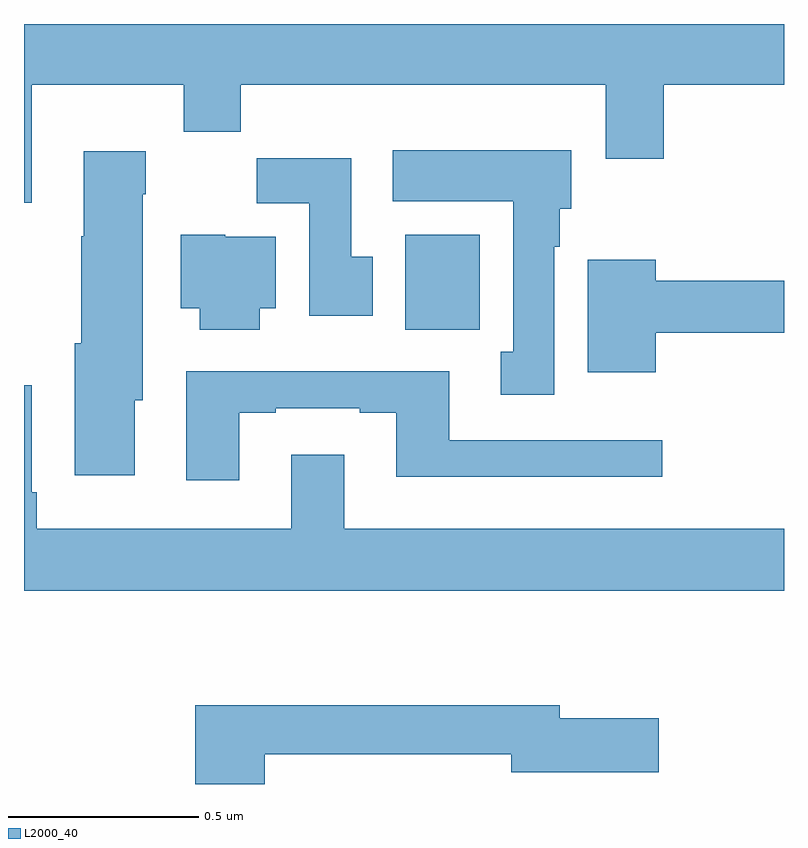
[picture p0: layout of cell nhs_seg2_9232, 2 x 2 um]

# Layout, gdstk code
import gdstk
lib = gdstk.Library(unit=1e-6, precision=1e-09)
def R(c, l, rs):  # rectangles x0, y0, x1, y1
    for r in rs: c.add(gdstk.rectangle(r[:2], r[2:], *l))
def P(c, l, *ps):  # polygons
    for p in ps: c.add(gdstk.Polygon(p, *l))
L2000_40 = (2000, 40)

nhs_seg2_9232 = lib.new_cell('nhs_seg2_9232')
R(nhs_seg2_9232, L2000_40, [(227.003,642.996,227.199,643.246)])
P(nhs_seg2_9232, L2000_40, [(226.021,643.64),(226.42,643.64),(226.42,643.516),(226.571,643.516),(226.571,643.64),(227.531,643.64),(227.531,643.446),(227.684,643.446),(227.684,643.64),(228,643.64),(228,643.8),(226,643.8),(226,643.329),(226.021,643.329)],
  [(227.395,643.214),(227.41,643.214),(227.41,643.314),(227.44,643.314),(227.44,643.468),(226.971,643.468),(226.971,643.334),(227.288,643.334),(227.288,642.937),(227.255,642.937),(227.255,642.825),(227.395,642.825)],
  [(226.291,642.81),(226.312,642.81),(226.312,643.352),(226.32,643.352),(226.32,643.465),(226.157,643.465),(226.157,643.241),(226.15,643.241),(226.15,642.96),(226.133,642.96),(226.133,642.612),(226.291,642.612)],
  [(226.918,643.188),(226.861,643.188),(226.861,643.447),(226.612,643.447),(226.612,643.328),(226.751,643.328),(226.751,643.032),(226.918,643.032)],
  [(226.621,643.052),(226.663,643.052),(226.663,643.24),(226.53,643.24),(226.53,643.246),(226.412,643.246),(226.412,643.052),(226.463,643.052),(226.463,642.995),(226.621,642.995)],
  [(227.662,642.988),(228,642.988),(228,643.124),(227.662,643.124),(227.662,643.18),(227.483,643.18),(227.483,642.884),(227.662,642.884)],
  [(226.567,642.777),(226.663,642.777),(226.663,642.789),(226.883,642.789),(226.883,642.777),(226.979,642.777),(226.979,642.608),(227.68,642.608),(227.68,642.705),(227.119,642.705),(227.119,642.886),(226.427,642.886),(226.427,642.6),(226.567,642.6)],
  [(228,642.472),(226.843,642.472),(226.843,642.667),(226.703,642.667),(226.703,642.472),(226.034,642.472),(226.034,642.568),(226.021,642.568),(226.021,642.85),(226,642.85),(226,642.308),(228,642.308)],
  [(226.634,641.878),(227.282,641.878),(227.282,641.831),(227.671,641.831),(227.671,641.973),(227.41,641.973),(227.41,642.007),(226.451,642.007),(226.451,641.8),(226.634,641.8)])

lib.write_gds('nhs_seg2_9232.gds')
